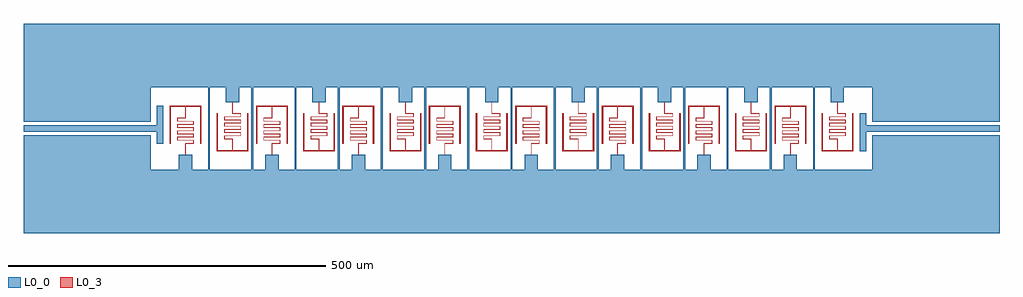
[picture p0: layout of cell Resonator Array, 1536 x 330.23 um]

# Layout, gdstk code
import gdstk
lib = gdstk.Library(unit=1e-6, precision=1e-09)
def P(c, l, *ps):  # polygons
    for p in ps: c.add(gdstk.Polygon(p, *l))
L0_0 = (0, 0)
L0_3 = (0, 3)

resonator_array = lib.new_cell('Resonator Array')
P(resonator_array, L0_0, [(-35,0),(-45,0),(-45,-31.115),(-255,-31.115),(-255,-41.115),(-45,-41.115),(-45,-59.73),(-35,-59.73)],
  [(1071,-41.115),(1281,-41.115),(1281,-31.115),(1071,-31.115),(1071,-12.5),(1061,-12.5),(1061,-72.23),(1071,-72.23)],
  [(1015.515,29),(1015.515,5),(1036.015,5),(1036.015,29),(1081,29),(1081,-25.115),(1281,-25.115),(1281,129),(-255,129),(-255,-25.115),(-55,-25.115),(-55,29),(38.5,29),(63.515,29),(63.515,5),(84.485,5),(84.485,29),(103.5,29),(103.5,-101.23),(106.5,-101.23),(106.5,29),(174.5,29),(199.515,29),(199.515,5),(220.485,5),(220.485,29),(239.5,29),(239.5,-101.23),(242.5,-101.23),(242.5,29),(310.5,29),(335.515,29),(335.515,5),(356.485,5),(356.485,29),(375.5,29),(375.5,-101.23),(378.5,-101.23),(378.5,29),(446.5,29),(471.515,29),(471.515,5),(492.485,5),(492.485,29),(511.5,29),(511.5,-101.23),(514.5,-101.23),(514.5,29),(582.5,29),(607.515,29),(607.515,5),(628.485,5),(628.485,29),(647.5,29),(647.5,-101.23),(650.5,-101.23),(650.5,29),(718.5,29),(743.515,29),(743.515,5),(764.485,5),(764.485,29),(783.5,29),(783.5,-101.23),(786.5,-101.23),(786.5,29),(854.5,29),(879.515,29),(879.515,5),(900.485,5),(900.485,29),(919.5,29),(919.5,-101.23),(922.5,-101.23),(922.5,29),(987.5,29),(987.5,-101.23),(962.015,-101.23),(962.015,-77.23),(941.515,-77.23),(941.515,-101.23),(922.5,-101.23),(919.5,-101.23),(854.5,-101.23),(854.5,29),(786.5,29),(851.5,29),(851.5,-101.23),(826.485,-101.23),(826.485,-77.23),(805.515,-77.23),(805.515,-101.23),(786.5,-101.23),(783.5,-101.23),(718.5,-101.23),(718.5,29),(650.5,29),(715.5,29),(715.5,-101.23),(690.485,-101.23),(690.485,-77.23),(669.515,-77.23),(669.515,-101.23),(650.5,-101.23),(647.5,-101.23),(582.5,-101.23),(582.5,29),(514.5,29),(579.5,29),(579.5,-101.23),(554.485,-101.23),(554.485,-77.23),(533.515,-77.23),(533.515,-101.23),(514.5,-101.23),(511.5,-101.23),(446.5,-101.23),(446.5,29),(378.5,29),(443.5,29),(443.5,-101.23),(418.485,-101.23),(418.485,-77.23),(397.515,-77.23),(397.515,-101.23),(378.5,-101.23),(375.5,-101.23),(310.5,-101.23),(310.5,29),(242.5,29),(307.5,29),(307.5,-101.23),(282.485,-101.23),(282.485,-77.23),(261.515,-77.23),(261.515,-101.23),(242.5,-101.23),(239.5,-101.23),(174.5,-101.23),(174.5,29),(106.5,29),(171.5,29),(171.5,-101.23),(146.485,-101.23),(146.485,-77.23),(125.515,-77.23),(125.515,-101.23),(106.5,-101.23),(103.5,-101.23),(38.5,-101.23),(38.5,29),(-55,29),(35.5,29),(35.5,-101.23),(10.485,-101.23),(10.485,-77.23),(-10.485,-77.23),(-10.485,-101.23),(-55,-101.23),(-55,-47.115),(-255,-47.115),(-255,-201.23),(1281,-201.23),(1281,-47.115),(1081,-47.115),(1081,-101.23),(990.5,-101.23),(990.5,29)])
P(resonator_array, L0_3, [(-25,-59.73),(-23,-59.73),(-23,-2),(23,-2),(23,-59.73),(25,-59.73),(25,0),(-25,0)],
  [(0.235,-2),(-0.235,-2),(-0.235,-19.5),(-13,-19.5),(-13,-24.94),(0,-24.94),(12.53,-24.94),(12.53,-29.44),(0,-29.44),(-13,-29.44),(-13,-34.88),(0,-34.88),(12.53,-34.88),(12.53,-39.38),(0,-39.38),(-13,-39.38),(-13,-44.82),(0,-44.82),(12.53,-44.82),(12.53,-49.32),(0,-49.32),(-13,-49.32),(-13,-54.76),(0,-54.76),(12.53,-54.76),(12.53,-59.26),(-0.235,-59.26),(-0.235,-77.23),(0.235,-77.23),(0.235,-59.73),(13,-59.73),(13,-54.29),(0,-54.29),(-12.53,-54.29),(-12.53,-49.79),(0,-49.79),(13,-49.79),(13,-44.35),(0,-44.35),(-12.53,-44.35),(-12.53,-39.85),(0,-39.85),(13,-39.85),(13,-34.41),(0,-34.41),(-12.53,-34.41),(-12.53,-29.91),(0,-29.91),(13,-29.91),(13,-24.47),(0,-24.47),(-12.53,-24.47),(-12.53,-19.97),(0.235,-19.97)],
  [(51,-12.5),(49,-12.5),(49,-72.23),(99,-72.23),(99,-12.5),(97,-12.5),(97,-70.23),(51,-70.23)],
  [(73.765,-70.23),(74.235,-70.23),(74.235,-52.26),(61.47,-52.26),(61.47,-47.76),(74,-47.76),(87,-47.76),(87,-42.32),(74,-42.32),(61.47,-42.32),(61.47,-37.82),(74,-37.82),(87,-37.82),(87,-32.38),(74,-32.38),(61.47,-32.38),(61.47,-27.88),(74,-27.88),(87,-27.88),(87,-22.44),(74,-22.44),(61.47,-22.44),(61.47,-17.94),(74,-17.94),(87,-17.94),(87,-12.5),(74.235,-12.5),(74.235,5),(73.765,5),(73.765,-12.97),(86.53,-12.97),(86.53,-17.47),(74,-17.47),(61,-17.47),(61,-22.91),(74,-22.91),(86.53,-22.91),(86.53,-27.41),(74,-27.41),(61,-27.41),(61,-32.85),(74,-32.85),(86.53,-32.85),(86.53,-37.35),(74,-37.35),(61,-37.35),(61,-42.79),(74,-42.79),(86.53,-42.79),(86.53,-47.29),(74,-47.29),(61,-47.29),(61,-52.73),(73.765,-52.73)],
  [(111,-59.73),(113,-59.73),(113,-2),(159,-2),(159,-59.73),(161,-59.73),(161,0),(111,0)],
  [(136.235,-2),(135.765,-2),(135.765,-19.5),(123,-19.5),(123,-24.94),(136,-24.94),(148.53,-24.94),(148.53,-29.44),(136,-29.44),(123,-29.44),(123,-34.88),(136,-34.88),(148.53,-34.88),(148.53,-39.38),(136,-39.38),(123,-39.38),(123,-44.82),(136,-44.82),(148.53,-44.82),(148.53,-49.32),(136,-49.32),(123,-49.32),(123,-54.76),(136,-54.76),(148.53,-54.76),(148.53,-59.26),(135.765,-59.26),(135.765,-59.26),(135.765,-77.23),(136.235,-77.23),(136.235,-59.73),(149,-59.73),(149,-59.73),(149,-54.29),(149,-54.29),(136,-54.29),(123.47,-54.29),(123.47,-49.79),(136,-49.79),(149,-49.79),(149,-49.79),(149,-44.35),(149,-44.35),(136,-44.35),(123.47,-44.35),(123.47,-39.85),(136,-39.85),(149,-39.85),(149,-39.85),(149,-34.41),(149,-34.41),(136,-34.41),(123.47,-34.41),(123.47,-29.91),(136,-29.91),(149,-29.91),(149,-29.91),(149,-24.47),(149,-24.47),(136,-24.47),(123.47,-24.47),(123.47,-19.97),(136.235,-19.97),(136.235,-19.97)],
  [(187,-12.5),(185,-12.5),(185,-72.23),(235,-72.23),(235,-12.5),(233,-12.5),(233,-70.23),(187,-70.23)],
  [(209.765,-70.23),(210.235,-70.23),(210.235,-52.26),(210.235,-52.26),(197.47,-52.26),(197.47,-47.76),(210,-47.76),(223,-47.76),(223,-47.76),(223,-42.32),(223,-42.32),(210,-42.32),(197.47,-42.32),(197.47,-37.82),(210,-37.82),(223,-37.82),(223,-37.82),(223,-32.38),(223,-32.38),(210,-32.38),(197.47,-32.38),(197.47,-27.88),(210,-27.88),(223,-27.88),(223,-27.88),(223,-22.44),(223,-22.44),(210,-22.44),(197.47,-22.44),(197.47,-17.94),(210,-17.94),(223,-17.94),(223,-17.94),(223,-12.5),(223,-12.5),(210.235,-12.5),(210.235,5),(209.765,5),(209.765,-12.97),(209.765,-12.97),(222.53,-12.97),(222.53,-17.47),(210,-17.47),(197,-17.47),(197,-17.47),(197,-22.91),(197,-22.91),(210,-22.91),(222.53,-22.91),(222.53,-27.41),(210,-27.41),(197,-27.41),(197,-27.41),(197,-32.85),(197,-32.85),(210,-32.85),(222.53,-32.85),(222.53,-37.35),(210,-37.35),(197,-37.35),(197,-37.35),(197,-42.79),(197,-42.79),(210,-42.79),(222.53,-42.79),(222.53,-47.29),(210,-47.29),(197,-47.29),(197,-47.29),(197,-52.73),(197,-52.73),(209.765,-52.73)],
  [(247,-59.73),(249,-59.73),(249,-2),(295,-2),(295,-59.73),(297,-59.73),(297,0),(247,0)],
  [(272.235,-2),(271.765,-2),(271.765,-19.5),(259,-19.5),(259,-19.5),(259,-24.94),(259,-24.94),(272,-24.94),(284.53,-24.94),(284.53,-29.44),(272,-29.44),(259,-29.44),(259,-29.44),(259,-34.88),(259,-34.88),(272,-34.88),(284.53,-34.88),(284.53,-39.38),(272,-39.38),(259,-39.38),(259,-39.38),(259,-44.82),(259,-44.82),(272,-44.82),(284.53,-44.82),(284.53,-49.32),(272,-49.32),(259,-49.32),(259,-49.32),(259,-54.76),(259,-54.76),(272,-54.76),(284.53,-54.76),(284.53,-59.26),(271.765,-59.26),(271.765,-59.26),(271.765,-77.23),(272.235,-77.23),(272.235,-59.73),(285,-59.73),(285,-59.73),(285,-54.29),(285,-54.29),(272,-54.29),(259.47,-54.29),(259.47,-49.79),(272,-49.79),(285,-49.79),(285,-49.79),(285,-44.35),(285,-44.35),(272,-44.35),(259.47,-44.35),(259.47,-39.85),(272,-39.85),(285,-39.85),(285,-39.85),(285,-34.41),(285,-34.41),(272,-34.41),(259.47,-34.41),(259.47,-29.91),(272,-29.91),(285,-29.91),(285,-29.91),(285,-24.47),(285,-24.47),(272,-24.47),(259.47,-24.47),(259.47,-19.97),(272.235,-19.97),(272.235,-19.97)],
  [(323,-12.5),(321,-12.5),(321,-72.23),(371,-72.23),(371,-12.5),(369,-12.5),(369,-70.23),(323,-70.23)],
  [(345.765,-70.23),(346.235,-70.23),(346.235,-52.26),(346.235,-52.26),(333.47,-52.26),(333.47,-47.76),(346,-47.76),(359,-47.76),(359,-47.76),(359,-42.32),(359,-42.32),(346,-42.32),(333.47,-42.32),(333.47,-37.82),(346,-37.82),(359,-37.82),(359,-37.82),(359,-32.38),(359,-32.38),(346,-32.38),(333.47,-32.38),(333.47,-27.88),(346,-27.88),(359,-27.88),(359,-27.88),(359,-22.44),(359,-22.44),(346,-22.44),(333.47,-22.44),(333.47,-17.94),(346,-17.94),(359,-17.94),(359,-17.94),(359,-12.5),(359,-12.5),(346.235,-12.5),(346.235,5),(345.765,5),(345.765,-12.97),(345.765,-12.97),(358.53,-12.97),(358.53,-17.47),(346,-17.47),(333,-17.47),(333,-17.47),(333,-22.91),(333,-22.91),(346,-22.91),(358.53,-22.91),(358.53,-27.41),(346,-27.41),(333,-27.41),(333,-27.41),(333,-32.85),(333,-32.85),(346,-32.85),(358.53,-32.85),(358.53,-37.35),(346,-37.35),(333,-37.35),(333,-37.35),(333,-42.79),(333,-42.79),(346,-42.79),(358.53,-42.79),(358.53,-47.29),(346,-47.29),(333,-47.29),(333,-47.29),(333,-52.73),(333,-52.73),(345.765,-52.73)],
  [(383,-59.73),(385,-59.73),(385,-2),(431,-2),(431,-59.73),(433,-59.73),(433,0),(383,0)],
  [(408.235,-2),(407.765,-2),(407.765,-19.5),(395,-19.5),(395,-19.5),(395,-24.94),(395,-24.94),(408,-24.94),(420.53,-24.94),(420.53,-29.44),(408,-29.44),(395,-29.44),(395,-29.44),(395,-34.88),(395,-34.88),(408,-34.88),(420.53,-34.88),(420.53,-39.38),(408,-39.38),(395,-39.38),(395,-39.38),(395,-44.82),(395,-44.82),(408,-44.82),(420.53,-44.82),(420.53,-49.32),(408,-49.32),(395,-49.32),(395,-49.32),(395,-54.76),(395,-54.76),(408,-54.76),(420.53,-54.76),(420.53,-59.26),(407.765,-59.26),(407.765,-59.26),(407.765,-77.23),(408.235,-77.23),(408.235,-59.73),(421,-59.73),(421,-59.73),(421,-54.29),(421,-54.29),(408,-54.29),(395.47,-54.29),(395.47,-49.79),(408,-49.79),(421,-49.79),(421,-49.79),(421,-44.35),(421,-44.35),(408,-44.35),(395.47,-44.35),(395.47,-39.85),(408,-39.85),(421,-39.85),(421,-39.85),(421,-34.41),(421,-34.41),(408,-34.41),(395.47,-34.41),(395.47,-29.91),(408,-29.91),(421,-29.91),(421,-29.91),(421,-24.47),(421,-24.47),(408,-24.47),(395.47,-24.47),(395.47,-19.97),(408.235,-19.97),(408.235,-19.97)],
  [(459,-12.5),(457,-12.5),(457,-72.23),(507,-72.23),(507,-12.5),(505,-12.5),(505,-70.23),(459,-70.23)],
  [(481.765,-70.23),(482.235,-70.23),(482.235,-52.26),(482.235,-52.26),(469.47,-52.26),(469.47,-47.76),(482,-47.76),(495,-47.76),(495,-47.76),(495,-42.32),(495,-42.32),(482,-42.32),(469.47,-42.32),(469.47,-37.82),(482,-37.82),(495,-37.82),(495,-37.82),(495,-32.38),(495,-32.38),(482,-32.38),(469.47,-32.38),(469.47,-27.88),(482,-27.88),(495,-27.88),(495,-27.88),(495,-22.44),(495,-22.44),(482,-22.44),(469.47,-22.44),(469.47,-17.94),(482,-17.94),(495,-17.94),(495,-17.94),(495,-12.5),(495,-12.5),(482.235,-12.5),(482.235,5),(481.765,5),(481.765,-12.97),(481.765,-12.97),(494.53,-12.97),(494.53,-17.47),(482,-17.47),(469,-17.47),(469,-17.47),(469,-22.91),(469,-22.91),(482,-22.91),(494.53,-22.91),(494.53,-27.41),(482,-27.41),(469,-27.41),(469,-27.41),(469,-32.85),(469,-32.85),(482,-32.85),(494.53,-32.85),(494.53,-37.35),(482,-37.35),(469,-37.35),(469,-37.35),(469,-42.79),(469,-42.79),(482,-42.79),(494.53,-42.79),(494.53,-47.29),(482,-47.29),(469,-47.29),(469,-47.29),(469,-52.73),(469,-52.73),(481.765,-52.73)],
  [(519,-59.73),(521,-59.73),(521,-2),(567,-2),(567,-59.73),(569,-59.73),(569,0),(519,0)],
  [(544.235,-2),(543.765,-2),(543.765,-19.5),(531,-19.5),(531,-19.5),(531,-24.94),(531,-24.94),(544,-24.94),(556.53,-24.94),(556.53,-29.44),(544,-29.44),(531,-29.44),(531,-29.44),(531,-34.88),(531,-34.88),(544,-34.88),(556.53,-34.88),(556.53,-39.38),(544,-39.38),(531,-39.38),(531,-39.38),(531,-44.82),(531,-44.82),(544,-44.82),(556.53,-44.82),(556.53,-49.32),(544,-49.32),(531,-49.32),(531,-49.32),(531,-54.76),(531,-54.76),(544,-54.76),(556.53,-54.76),(556.53,-59.26),(543.765,-59.26),(543.765,-59.26),(543.765,-77.23),(544.235,-77.23),(544.235,-59.73),(557,-59.73),(557,-59.73),(557,-54.29),(557,-54.29),(544,-54.29),(531.47,-54.29),(531.47,-49.79),(544,-49.79),(557,-49.79),(557,-49.79),(557,-44.35),(557,-44.35),(544,-44.35),(531.47,-44.35),(531.47,-39.85),(544,-39.85),(557,-39.85),(557,-39.85),(557,-34.41),(557,-34.41),(544,-34.41),(531.47,-34.41),(531.47,-29.91),(544,-29.91),(557,-29.91),(557,-29.91),(557,-24.47),(557,-24.47),(544,-24.47),(531.47,-24.47),(531.47,-19.97),(544.235,-19.97),(544.235,-19.97)],
  [(595,-12.5),(593,-12.5),(593,-72.23),(643,-72.23),(643,-12.5),(641,-12.5),(641,-70.23),(595,-70.23)],
  [(617.765,-70.23),(618.235,-70.23),(618.235,-52.26),(618.235,-52.26),(605.47,-52.26),(605.47,-47.76),(618,-47.76),(631,-47.76),(631,-47.76),(631,-42.32),(631,-42.32),(618,-42.32),(605.47,-42.32),(605.47,-37.82),(618,-37.82),(631,-37.82),(631,-37.82),(631,-32.38),(631,-32.38),(618,-32.38),(605.47,-32.38),(605.47,-27.88),(618,-27.88),(631,-27.88),(631,-27.88),(631,-22.44),(631,-22.44),(618,-22.44),(605.47,-22.44),(605.47,-17.94),(618,-17.94),(631,-17.94),(631,-17.94),(631,-12.5),(631,-12.5),(618.235,-12.5),(618.235,5),(617.765,5),(617.765,-12.97),(617.765,-12.97),(630.53,-12.97),(630.53,-17.47),(618,-17.47),(605,-17.47),(605,-17.47),(605,-22.91),(605,-22.91),(618,-22.91),(630.53,-22.91),(630.53,-27.41),(618,-27.41),(605,-27.41),(605,-27.41),(605,-32.85),(605,-32.85),(618,-32.85),(630.53,-32.85),(630.53,-37.35),(618,-37.35),(605,-37.35),(605,-37.35),(605,-42.79),(605,-42.79),(618,-42.79),(630.53,-42.79),(630.53,-47.29),(618,-47.29),(605,-47.29),(605,-47.29),(605,-52.73),(605,-52.73),(617.765,-52.73)],
  [(655,-59.73),(657,-59.73),(657,-2),(703,-2),(703,-59.73),(705,-59.73),(705,0),(655,0)],
  [(680.235,-2),(679.765,-2),(679.765,-19.5),(667,-19.5),(667,-19.5),(667,-24.94),(667,-24.94),(680,-24.94),(692.53,-24.94),(692.53,-29.44),(680,-29.44),(667,-29.44),(667,-29.44),(667,-34.88),(667,-34.88),(680,-34.88),(692.53,-34.88),(692.53,-39.38),(680,-39.38),(667,-39.38),(667,-39.38),(667,-44.82),(667,-44.82),(680,-44.82),(692.53,-44.82),(692.53,-49.32),(680,-49.32),(667,-49.32),(667,-49.32),(667,-54.76),(667,-54.76),(680,-54.76),(692.53,-54.76),(692.53,-59.26),(679.765,-59.26),(679.765,-59.26),(679.765,-77.23),(680.235,-77.23),(680.235,-59.73),(693,-59.73),(693,-59.73),(693,-54.29),(693,-54.29),(680,-54.29),(667.47,-54.29),(667.47,-49.79),(680,-49.79),(693,-49.79),(693,-49.79),(693,-44.35),(693,-44.35),(680,-44.35),(667.47,-44.35),(667.47,-39.85),(680,-39.85),(693,-39.85),(693,-39.85),(693,-34.41),(693,-34.41),(680,-34.41),(667.47,-34.41),(667.47,-29.91),(680,-29.91),(693,-29.91),(693,-29.91),(693,-24.47),(693,-24.47),(680,-24.47),(667.47,-24.47),(667.47,-19.97),(680.235,-19.97),(680.235,-19.97)],
  [(731,-12.5),(729,-12.5),(729,-72.23),(779,-72.23),(779,-12.5),(777,-12.5),(777,-70.23),(731,-70.23)],
  [(753.765,-70.23),(754.235,-70.23),(754.235,-52.26),(754.235,-52.26),(741.47,-52.26),(741.47,-47.76),(754,-47.76),(767,-47.76),(767,-47.76),(767,-42.32),(767,-42.32),(754,-42.32),(741.47,-42.32),(741.47,-37.82),(754,-37.82),(767,-37.82),(767,-37.82),(767,-32.38),(767,-32.38),(754,-32.38),(741.47,-32.38),(741.47,-27.88),(754,-27.88),(767,-27.88),(767,-27.88),(767,-22.44),(767,-22.44),(754,-22.44),(741.47,-22.44),(741.47,-17.94),(754,-17.94),(767,-17.94),(767,-17.94),(767,-12.5),(767,-12.5),(754.235,-12.5),(754.235,5),(753.765,5),(753.765,-12.97),(753.765,-12.97),(766.53,-12.97),(766.53,-17.47),(754,-17.47),(741,-17.47),(741,-17.47),(741,-22.91),(741,-22.91),(754,-22.91),(766.53,-22.91),(766.53,-27.41),(754,-27.41),(741,-27.41),(741,-27.41),(741,-32.85),(741,-32.85),(754,-32.85),(766.53,-32.85),(766.53,-37.35),(754,-37.35),(741,-37.35),(741,-37.35),(741,-42.79),(741,-42.79),(754,-42.79),(766.53,-42.79),(766.53,-47.29),(754,-47.29),(741,-47.29),(741,-47.29),(741,-52.73),(741,-52.73),(753.765,-52.73)],
  [(791,-59.73),(793,-59.73),(793,-2),(839,-2),(839,-59.73),(841,-59.73),(841,0),(791,0)],
  [(816.235,-2),(815.765,-2),(815.765,-19.5),(803,-19.5),(803,-19.5),(803,-24.94),(803,-24.94),(816,-24.94),(828.53,-24.94),(828.53,-29.44),(816,-29.44),(803,-29.44),(803,-29.44),(803,-34.88),(803,-34.88),(816,-34.88),(828.53,-34.88),(828.53,-39.38),(816,-39.38),(803,-39.38),(803,-39.38),(803,-44.82),(803,-44.82),(816,-44.82),(828.53,-44.82),(828.53,-49.32),(816,-49.32),(803,-49.32),(803,-49.32),(803,-54.76),(803,-54.76),(816,-54.76),(828.53,-54.76),(828.53,-59.26),(815.765,-59.26),(815.765,-59.26),(815.765,-77.23),(816.235,-77.23),(816.235,-59.73),(829,-59.73),(829,-59.73),(829,-54.29),(829,-54.29),(816,-54.29),(803.47,-54.29),(803.47,-49.79),(816,-49.79),(829,-49.79),(829,-49.79),(829,-44.35),(829,-44.35),(816,-44.35),(803.47,-44.35),(803.47,-39.85),(816,-39.85),(829,-39.85),(829,-39.85),(829,-34.41),(829,-34.41),(816,-34.41),(803.47,-34.41),(803.47,-29.91),(816,-29.91),(829,-29.91),(829,-29.91),(829,-24.47),(829,-24.47),(816,-24.47),(803.47,-24.47),(803.47,-19.97),(816.235,-19.97),(816.235,-19.97)],
  [(867,-12.5),(865,-12.5),(865,-72.23),(915,-72.23),(915,-12.5),(913,-12.5),(913,-70.23),(867,-70.23)],
  [(889.765,-70.23),(890.235,-70.23),(890.235,-52.26),(890.235,-52.26),(877.47,-52.26),(877.47,-47.76),(890,-47.76),(903,-47.76),(903,-47.76),(903,-42.32),(903,-42.32),(890,-42.32),(877.47,-42.32),(877.47,-37.82),(890,-37.82),(903,-37.82),(903,-37.82),(903,-32.38),(903,-32.38),(890,-32.38),(877.47,-32.38),(877.47,-27.88),(890,-27.88),(903,-27.88),(903,-27.88),(903,-22.44),(903,-22.44),(890,-22.44),(877.47,-22.44),(877.47,-17.94),(890,-17.94),(903,-17.94),(903,-17.94),(903,-12.5),(903,-12.5),(890.235,-12.5),(890.235,5),(889.765,5),(889.765,-12.97),(889.765,-12.97),(902.53,-12.97),(902.53,-17.47),(890,-17.47),(877,-17.47),(877,-17.47),(877,-22.91),(877,-22.91),(890,-22.91),(902.53,-22.91),(902.53,-27.41),(890,-27.41),(877,-27.41),(877,-27.41),(877,-32.85),(877,-32.85),(890,-32.85),(902.53,-32.85),(902.53,-37.35),(890,-37.35),(877,-37.35),(877,-37.35),(877,-42.79),(877,-42.79),(890,-42.79),(902.53,-42.79),(902.53,-47.29),(890,-47.29),(877,-47.29),(877,-47.29),(877,-52.73),(877,-52.73),(889.765,-52.73)],
  [(927,-59.73),(929,-59.73),(929,-2),(975,-2),(975,-59.73),(977,-59.73),(977,0),(927,0)],
  [(952.235,-2),(951.765,-2),(951.765,-19.5),(939,-19.5),(939,-19.5),(939,-24.94),(939,-24.94),(952,-24.94),(964.53,-24.94),(964.53,-29.44),(952,-29.44),(939,-29.44),(939,-29.44),(939,-34.88),(939,-34.88),(952,-34.88),(964.53,-34.88),(964.53,-39.38),(952,-39.38),(939,-39.38),(939,-39.38),(939,-44.82),(939,-44.82),(952,-44.82),(964.53,-44.82),(964.53,-49.32),(952,-49.32),(939,-49.32),(939,-49.32),(939,-54.76),(939,-54.76),(952,-54.76),(964.53,-54.76),(964.53,-59.26),(951.765,-59.26),(951.765,-59.26),(951.765,-77.23),(952.235,-77.23),(952.235,-59.73),(965,-59.73),(965,-59.73),(965,-54.29),(965,-54.29),(952,-54.29),(939.47,-54.29),(939.47,-49.79),(952,-49.79),(965,-49.79),(965,-49.79),(965,-44.35),(965,-44.35),(952,-44.35),(939.47,-44.35),(939.47,-39.85),(952,-39.85),(965,-39.85),(965,-39.85),(965,-34.41),(965,-34.41),(952,-34.41),(939.47,-34.41),(939.47,-29.91),(952,-29.91),(965,-29.91),(965,-29.91),(965,-24.47),(965,-24.47),(952,-24.47),(939.47,-24.47),(939.47,-19.97),(952.235,-19.97),(952.235,-19.97)],
  [(1003,-12.5),(1001,-12.5),(1001,-72.23),(1051,-72.23),(1051,-12.5),(1049,-12.5),(1049,-70.23),(1003,-70.23)],
  [(1025.765,-70.23),(1026.235,-70.23),(1026.235,-52.26),(1013.47,-52.26),(1013.47,-47.76),(1026,-47.76),(1039,-47.76),(1039,-42.32),(1026,-42.32),(1013.47,-42.32),(1013.47,-37.82),(1026,-37.82),(1039,-37.82),(1039,-32.38),(1026,-32.38),(1013.47,-32.38),(1013.47,-27.88),(1026,-27.88),(1039,-27.88),(1039,-22.44),(1026,-22.44),(1013.47,-22.44),(1013.47,-17.94),(1026,-17.94),(1039,-17.94),(1039,-12.5),(1026.235,-12.5),(1026.235,5),(1025.765,5),(1025.765,-12.97),(1038.53,-12.97),(1038.53,-17.47),(1026,-17.47),(1013,-17.47),(1013,-17.47),(1013,-22.91),(1013,-22.91),(1026,-22.91),(1038.53,-22.91),(1038.53,-27.41),(1026,-27.41),(1013,-27.41),(1013,-27.41),(1013,-32.85),(1013,-32.85),(1026,-32.85),(1038.53,-32.85),(1038.53,-37.35),(1026,-37.35),(1013,-37.35),(1013,-37.35),(1013,-42.79),(1013,-42.79),(1026,-42.79),(1038.53,-42.79),(1038.53,-47.29),(1026,-47.29),(1013,-47.29),(1013,-47.29),(1013,-52.73),(1013,-52.73),(1025.765,-52.73)])

lib.write_gds('Resonator_Array.gds')
